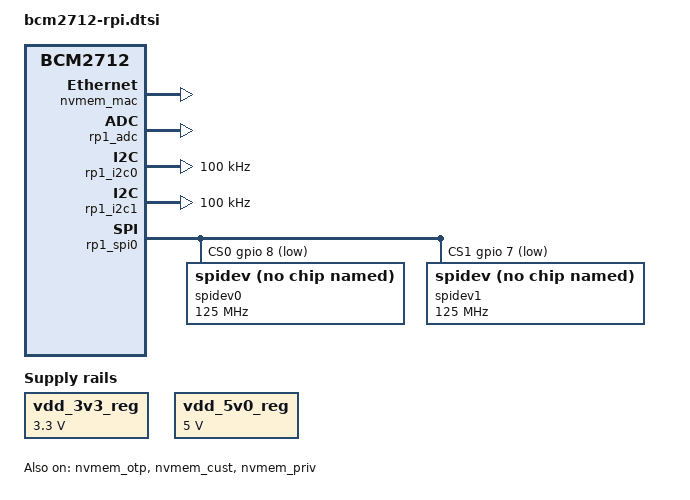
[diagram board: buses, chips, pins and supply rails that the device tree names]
// SPDX-License-Identifier: GPL-2.0

#include <dt-bindings/power/raspberrypi-power.h>

&soc {
	firmware: firmware {
		compatible = "raspberrypi,bcm2835-firmware", "simple-mfd";
		#address-cells = <1>;
		#size-cells = <1>;

		mboxes = <&mailbox>;
		dma-ranges;

		firmware_clocks: clocks {
			compatible = "raspberrypi,firmware-clocks";
			#clock-cells = <1>;
		};

		reset: reset {
			compatible = "raspberrypi,firmware-reset";
			#reset-cells = <1>;
		};

		vcio: vcio {
			compatible = "raspberrypi,vcio";
		};
	};

	power: power {
		compatible = "raspberrypi,bcm2835-power";
		firmware = <&firmware>;
		#power-domain-cells = <1>;
	};

	fb: fb {
		compatible = "brcm,bcm2708-fb";
		firmware = <&firmware>;
		status = "okay";
	};

	rpi_rtc: rpi_rtc {
		compatible = "raspberrypi,rpi-rtc";
		firmware = <&firmware>;
		status = "okay";
		trickle-charge-microvolt = <0>;
	};

	nvmem {
		compatible = "simple-bus";
		#address-cells = <1>;
		#size-cells = <1>;

		nvmem_otp: nvmem_otp {
			compatible = "raspberrypi,rpi-otp";
			firmware = <&firmware>;
			reg = <0 192>;
			status = "okay";
		};

		nvmem_cust: nvmem_cust {
			compatible = "raspberrypi,rpi-otp";
			firmware = <&firmware>;
			reg = <1 8>;
			status = "okay";
		};

		nvmem_mac: nvmem_mac {
			compatible = "raspberrypi,rpi-otp";
			firmware = <&firmware>;
			reg = <2 6>;
			status = "okay";
		};

		nvmem_priv: nvmem_priv {
			compatible = "raspberrypi,rpi-otp";
			firmware = <&firmware>;
			reg = <3 16>;
			status = "okay";
		};
	};

	/* Define these notional regulators for use by overlays, etc. */
	vdd_3v3_reg: fixedregulator_3v3 {
		compatible = "regulator-fixed";
		regulator-always-on;
		regulator-max-microvolt = <3300000>;
		regulator-min-microvolt = <3300000>;
		regulator-name = "3v3";
	};

	vdd_5v0_reg: fixedregulator_5v0 {
		compatible = "regulator-fixed";
		regulator-always-on;
		regulator-max-microvolt = <5000000>;
		regulator-min-microvolt = <5000000>;
		regulator-name = "5v0";
	};
};

/ {
	chosen: chosen {
		bootargs = "reboot=w coherent_pool=1M 8250.nr_uarts=1 pci=pcie_bus_safe cgroup_disable=memory numa_policy=interleave";
		stdout-path = "serial10:115200n8";
	};

	aliases: aliases {
		blconfig = &blconfig;
		blpubkey = &blpubkey;
		bluetooth = &bluetooth;
		console = &uart10;
		drm-dsi1 = &dsi0;
		drm-dsi2 = &dsi1;
		ethernet0 = &rp1_eth;
		fb = &fb;
		gpio0 = &gpio;
		gpio1 = &gio;
		gpio2 = &gio_aon;
		gpio3 = &pinctrl;
		gpio4 = &pinctrl_aon;
		gpiochip0 = &gpio;
		gpiochip10 = &gio;
		i2c = &i2c_arm;
		i2c0 = &i2c0;
		i2c1 = &i2c1;
		i2c2 = &i2c2;
		i2c3 = &i2c3;
		i2c10 = &i2c_csi_dsi0;
		i2c11 = &i2c_csi_dsi1;
		i2c12 = &i2c10;
		mailbox = &mailbox;
		mmc0 = &sdio1;
		serial0 = &uart0;
		serial1 = &uart1;
		serial10 = &uart10;
		serial2 = &uart2;
		serial3 = &uart3;
		serial4 = &uart4;
		spi0 = &spi0;
		spi1 = &spi1;
		spi10 = &spi10;
		spi2 = &spi2;
		spi3 = &spi3;
		spi4 = &spi4;
		spi5 = &spi5;
		uart0 = &uart0;
		uart1 = &uart1;
		uart10 = &uart10;
		uart2 = &uart2;
		uart3 = &uart3;
		uart4 = &uart4;
		usb0 = &rp1_usb0;
		usb1 = &rp1_usb1;
		wifi0 = &wifi;
	};

	__overrides__ {
		act_led_gpio = <&led_act>,"gpios:4",<&led_act>,"gpios:0=",<&gpio>;
		act_led_activelow = <&led_act>, "gpios:8";
		act_led_trigger = <&led_act>, "linux,default-trigger";
		axiperf = <&axiperf>,"status";
		bdaddr = <&bluetooth>, "local-bd-address[";
		button_debounce = <&pwr_key>, "debounce-interval:0";
		cooling_fan = <&fan>, "status", <&rp1_pwm1>, "status";
		drm_fb0_rp1_dpi = <&aliases>, "drm-fb0=",&dpi;
		drm_fb0_rp1_dsi0 = <&aliases>, "drm-fb0=",&dsi0;
		drm_fb0_rp1_dsi1 = <&aliases>, "drm-fb0=",&dsi1;
		drm_fb0_vc4 = <&aliases>, "drm-fb0=",&vc4;
		drm_fb1_rp1_dpi = <&aliases>, "drm-fb1=",&dpi;
		drm_fb1_rp1_dsi0 = <&aliases>, "drm-fb1=",&dsi0;
		drm_fb1_rp1_dsi1 = <&aliases>, "drm-fb1=",&dsi1;
		drm_fb1_vc4 = <&aliases>, "drm-fb1=",&vc4;
		drm_fb2_rp1_dpi = <&aliases>, "drm-fb2=",&dpi;
		drm_fb2_rp1_dsi0 = <&aliases>, "drm-fb2=",&dsi0;
		drm_fb2_rp1_dsi1 = <&aliases>, "drm-fb2=",&dsi1;
		drm_fb2_vc4 = <&aliases>, "drm-fb2=",&vc4;
		eth_led0 = <&phy1>,"led-modes:0";
		eth_led1 = <&phy1>,"led-modes:4";
		fan_temp0 = <&cpu_tepid>,"temperature:0";
		fan_temp0_hyst = <&cpu_tepid>,"hysteresis:0";
		fan_temp0_speed = <&fan>, "cooling-levels:4";
		fan_temp1 = <&cpu_warm>,"temperature:0";
		fan_temp1_hyst = <&cpu_warm>,"hysteresis:0";
		fan_temp1_speed = <&fan>, "cooling-levels:8";
		fan_temp2 = <&cpu_hot>,"temperature:0";
		fan_temp2_hyst = <&cpu_hot>,"hysteresis:0";
		fan_temp2_speed = <&fan>, "cooling-levels:12";
		fan_temp3 = <&cpu_vhot>,"temperature:0";
		fan_temp3_hyst = <&cpu_vhot>,"hysteresis:0";
		fan_temp3_speed = <&fan>, "cooling-levels:16";
		i2c = <&i2c1>, "status";
		i2c_arm = <&i2c_arm>, "status";
		i2c_arm_baudrate = <&i2c_arm>, "clock-frequency:0";
		i2c_baudrate = <&i2c_arm>, "clock-frequency:0";
		i2c_csi_dsi = <&i2c_csi_dsi>, "status";
		i2c_csi_dsi0 = <&i2c_csi_dsi0>, "status";
		i2c_csi_dsi1 = <&i2c_csi_dsi1>, "status";
		i2c_vc = <&i2c_vc>, "status";
		i2c_vc_baudrate = <&i2c_vc>, "clock-frequency:0";
		i2c0 = <&i2c0>, "status";
		i2c0_baudrate = <&i2c0>, "clock-frequency:0";
		i2c1 = <&i2c1>, "status";
		i2c1_baudrate = <&i2c1>, "clock-frequency:0";
		krnbt = <&bluetooth>, "status";
		nvme = <&pciex1>, "status";
		nvmem_cust_rw = <&nvmem_cust>,"rw?";
		nvmem_mac_rw = <&nvmem_mac>,"rw?";
		nvmem_priv_rw = <&nvmem_priv>,"rw?";
		pcie_tperst_clk_ms = <&pciex1>, "brcm,tperst-clk-ms:0";
		pciex1 = <&pciex1>, "status";
		pciex1_gen = <&pciex1> , "max-link-speed:0";
		pciex1_no_l0s = <&pciex1>, "aspm-no-l0s?";
		pciex1_tperst_clk_ms = <&pciex1>, "brcm,tperst-clk-ms:0";
		pwr_led_gpio = <&led_pwr>, "gpios:4";
		pwr_led_activelow = <&led_pwr>, "gpios:8";
		pwr_led_trigger = <&led_pwr>, "linux,default-trigger";
		random = <&random>, "status";
		rtc = <&rpi_rtc>, "status";
		rtc_bbat_vchg = <&rpi_rtc>, "trickle-charge-microvolt:0";
		spi = <&spi0>, "status";
		strict_gpiod = <&chosen>, "bootargs=pinctrl_rp1.persist_gpio_outputs=n";
		suspend = <&pwr_key>, "linux,code:0=205";
		uart0 = <&uart0>, "status";
		uart0_console = <&uart0>,"status", <&aliases>, "console=",&uart0;
		wifiaddr = <&wifi>, "local-mac-address[";

		cam0_reg = <&cam0_reg>,"status";
		cam0_reg_gpio = <&cam0_reg>,"gpio:4",
				<&cam0_reg>,"gpio:0=", <&gpio>;
		cam1_reg = <&cam1_reg>,"status";
		cam1_reg_gpio = <&cam1_reg>,"gpio:4",
				<&cam1_reg>,"gpio:0=", <&gpio>;
	};
};

pciex1: &pcie1 { };
pciex4: &pcie2 { };

&dma32 {
	/* The VPU firmware uses DMA channel 11 for VCHIQ */
	brcm,dma-channel-mask = <0x03f>;
};

&dma40 {
	/* The VPU firmware DMA channel 11 for VCHIQ */
	brcm,dma-channel-mask = <0x07c0>;
};

&hdmi0 {
	dmas = <&dma40 (10|(1<<30)|(1<<24)|(10<<16)|(15<<20))>;
};

&hdmi1 {
	dmas = <&dma40 (17|(1<<30)|(1<<24)|(10<<16)|(15<<20))>;
};

&spi10 {
	dmas = <&dma40 6>, <&dma40 7>;
	dma-names = "tx", "rx";
};

&usb {
	power-domains = <&power RPI_POWER_DOMAIN_USB>;
};

&rmem {
	/*
	 * RPi5's co-processor will copy the board's bootloader configuration
	 * into memory for the OS to consume. It'll also update this node with
	 * its placement information.
	 */
	blconfig: nvram@0 {
		compatible = "raspberrypi,bootloader-config", "nvmem-rmem";
		#address-cells = <1>;
		#size-cells = <1>;
		reg = <0x0 0x0 0x0>;
		no-map;
		status = "disabled";
	};
	/*
	 * RPi5 will copy the binary public key blob (if present) from the bootloader
	 * into memory for use by the OS.
	 */
	blpubkey: nvram@1 {
		compatible = "raspberrypi,bootloader-public-key", "nvmem-rmem";
		#address-cells = <1>;
		#size-cells = <1>;
		reg = <0x0 0x0 0x0>;
		no-map;
		status = "disabled";
	};
};

&rp1_adc {
	status = "okay";
};

&rp1_mbox {
	status = "okay";
};

/* Add some gpiomem nodes to make the devices accessible to userspace.
 * /dev/gpiomem<n> should expose the registers for the interface with DT alias
 * gpio<n>.
 */

&rp1 {
	gpiomem@d0000 {
		/* Export IO_BANKs, RIO_BANKs and PADS_BANKs to userspace */
		compatible = "raspberrypi,gpiomem";
		reg = <0xc0 0x400d0000  0x0 0x30000>;
		chardev-name = "gpiomem0";
	};
};

&soc {
	gpiomem@7d508500 {
		compatible = "raspberrypi,gpiomem";
		reg = <0x7d508500 0x40>;
		chardev-name = "gpiomem1";
	};

	gpiomem@7d517c00 {
		compatible = "raspberrypi,gpiomem";
		reg = <0x7d517c00 0x40>;
		chardev-name = "gpiomem2";
	};

	gpiomem@7d504100 {
		compatible = "raspberrypi,gpiomem";
		reg = <0x7d504100 0x20>;
		chardev-name = "gpiomem3";
	};

	gpiomem@7d510700 {
		compatible = "raspberrypi,gpiomem";
		reg = <0x7d510700 0x20>;
		chardev-name = "gpiomem4";
	};

	sound: sound {
		status = "disabled";
	};
};

i2c0: &rp1_i2c0 { };
i2c1: &rp1_i2c1 { };
i2c2: &rp1_i2c2 { };
i2c3: &rp1_i2c3 { };
i2c4: &rp1_i2c4 { };
i2c5: &rp1_i2c5 { };
i2c6: &rp1_i2c6 { };
i2s:  &rp1_i2s0 { };
i2s_clk_producer: &rp1_i2s0 { };
i2s_clk_consumer: &rp1_i2s1 { };
pwm0: &rp1_pwm0 { };
pwm1: &rp1_pwm1 { };
pwm: &pwm0 { };
spi0: &rp1_spi0 { };
spi1: &rp1_spi1 { };
spi2: &rp1_spi2 { };
spi3: &rp1_spi3 { };
spi4: &rp1_spi4 { };
spi5: &rp1_spi5 { };

uart0_pins: &rp1_uart0_14_15 {};
uart0_ctsrts_pins: &rp1_uart0_ctsrts_16_17 {};
uart0: &rp1_uart0 {
	pinctrl-0 = <&uart0_pins>;
};

uart1_pins: &rp1_uart1_0_1 {};
uart1_ctsrts_pins: &rp1_uart1_ctsrts_2_3 {};
uart1: &rp1_uart1 { };

uart2_pins: &rp1_uart2_4_5 {};
uart2_ctsrts_pins: &rp1_uart2_ctsrts_6_7 {};
uart2: &rp1_uart2 { };

uart3_pins: &rp1_uart3_8_9 {};
uart3_ctsrts_pins: &rp1_uart3_ctsrts_10_11 {};
uart3: &rp1_uart3 { };

uart4_pins: &rp1_uart4_12_13 {};
uart4_ctsrts_pins: &rp1_uart4_ctsrts_14_15 {};
uart4: &rp1_uart4 { };

i2c0_pins: &rp1_i2c0_0_1 {};
i2c_vc: &i2c0 {      // This is pins 27,28 on the header (not MIPI)
	pinctrl-0 = <&i2c0_pins>;
	pinctrl-names = "default";
	clock-frequency = <100000>;
};

i2c1_pins: &rp1_i2c1_2_3 {};
i2c_arm: &i2c1 {
	pinctrl-names = "default";
	pinctrl-0 = <&i2c1_pins>;
	clock-frequency = <100000>;
};

i2c2_pins: &rp1_i2c2_4_5 {};
&i2c2 {
	pinctrl-names = "default";
	pinctrl-0 = <&i2c2_pins>;
};

i2c3_pins: &rp1_i2c3_6_7 {};
&i2c3 {
	pinctrl-names = "default";
	pinctrl-0 = <&i2c3_pins>;
};

&i2s_clk_producer {
	pinctrl-names = "default";
	pinctrl-0 = <&rp1_i2s0_18_21>;
};

&i2s_clk_consumer {
	pinctrl-names = "default";
	pinctrl-0 = <&rp1_i2s1_18_21>;
};

spi0_pins: &rp1_spi0_gpio9 {};
spi0_cs_pins: &rp1_spi0_cs_gpio7 {};

&spi0 {
	pinctrl-names = "default";
	pinctrl-0 = <&spi0_pins &spi0_cs_pins>;
	cs-gpios = <&gpio 8 1>, <&gpio 7 1>;

	spidev0: spidev@0 {
		compatible = "spidev";
		reg = <0>;	/* CE0 */
		#address-cells = <1>;
		#size-cells = <0>;
		spi-max-frequency = <125000000>;
	};

	spidev1: spidev@1 {
		compatible = "spidev";
		reg = <1>;	/* CE1 */
		#address-cells = <1>;
		#size-cells = <0>;
		spi-max-frequency = <125000000>;
	};
};

spi2_pins: &rp1_spi2_gpio1 {};
&spi2 {
	pinctrl-names = "default";
	pinctrl-0 = <&spi2_pins>;
};

spi3_pins: &rp1_spi3_gpio5 {};
&spi3 {
	pinctrl-names = "default";
	pinctrl-0 = <&spi3_pins>;
};

spi4_pins: &rp1_spi4_gpio9 {};
&spi4 {
	pinctrl-names = "default";
	pinctrl-0 = <&spi4_pins>;
};

spi5_pins: &rp1_spi5_gpio13 {};
&spi5 {
	pinctrl-names = "default";
	pinctrl-0 = <&spi5_pins>;
};
